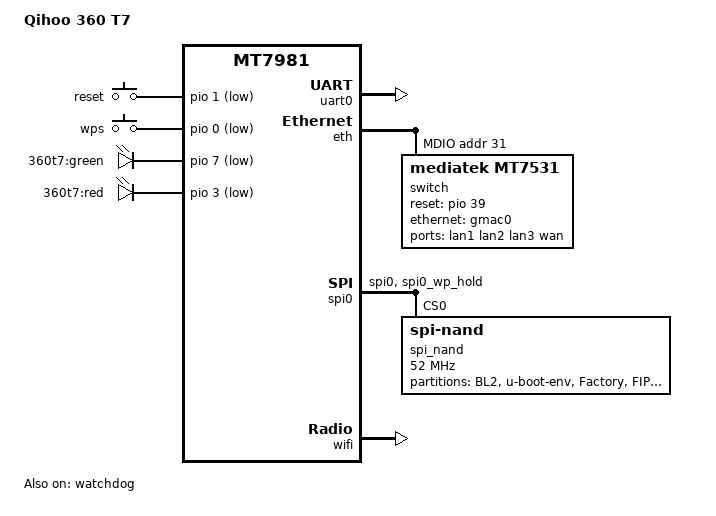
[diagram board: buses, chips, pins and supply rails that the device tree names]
/dts-v1/;

#include "mt7981.dtsi"

/ {
	model = "Qihoo 360 T7";
	compatible = "360,t7", "mediatek,mt7981";

	aliases {
		led-boot = &red_led;
		led-failsafe = &red_led;
		led-running = &green_led;
		led-upgrade = &green_led;
	};

	chosen {
		stdout-path = "serial0:115200n8";
	};

	gpio-keys {
		compatible = "gpio-keys";

		reset {
			label = "reset";
			linux,code = <KEY_RESTART>;
			gpios = <&pio 1 GPIO_ACTIVE_LOW>;
		};

		wps {
			label = "wps";
			linux,code = <KEY_WPS_BUTTON>;
			gpios = <&pio 0 GPIO_ACTIVE_LOW>;
		};
	};

	leds {
		compatible = "gpio-leds";

		green_led: green {
			label = "360t7:green";
			gpios = <&pio 7 GPIO_ACTIVE_LOW>;
		};

		red_led: red {
			label = "360t7:red";
			gpios = <&pio 3 GPIO_ACTIVE_LOW>;
		};
	};

};

&uart0 {
	status = "okay";
};

&watchdog {
	status = "okay";
};

&eth {
	status = "okay";

	gmac0: mac@0 {
		compatible = "mediatek,eth-mac";
		reg = <0>;
		phy-mode = "2500base-x";
		nvmem-cells = <&macaddr>;
		nvmem-cell-names = "mac-address";
		mac-address-increment = <(-2)>;

		fixed-link {
			speed = <2500>;
			full-duplex;
			pause;
		};
	};

	gmac1: mac@1 {
		compatible = "mediatek,eth-mac";
		reg = <1>;
		phy-mode = "2500base-x";
		nvmem-cells = <&macaddr>;
		nvmem-cell-names = "mac-address";
		mac-address-increment = <(-1)>;

		fixed-link {
			speed = <2500>;
			full-duplex;
			pause;
		};
	};

	mdio: mdio-bus {
		#address-cells = <1>;
		#size-cells = <0>;
	};
};

&mdio {
	switch: switch@0 {
		compatible = "mediatek,mt7531";
		reg = <31>;
		reset-gpios = <&pio 39 GPIO_ACTIVE_HIGH>;
	};
};

&spi0 {
	pinctrl-names = "default";
	pinctrl-0 = <&spi0_flash_pins>;
	status = "okay";

	spi_nand: flash@0 {
		#address-cells = <1>;
		#size-cells = <1>;
		compatible = "spi-nand";
		reg = <0>;
		spi-max-frequency = <52000000>;

		spi-cal-enable;
		spi-cal-mode = "read-data";
		spi-cal-datalen = <7>;
		spi-cal-data = /bits/ 8 <0x53 0x50 0x49 0x4E 0x41 0x4E 0x44>;
		spi-cal-addrlen = <5>;
		spi-cal-addr = /bits/ 32 <0x0 0x0 0x0 0x0 0x0>;

		spi-tx-buswidth = <4>;
		spi-rx-buswidth = <4>;
		mediatek,nmbm;
		mediatek,bmt-max-ratio = <1>;
		mediatek,bmt-max-reserved-blocks = <64>;

		partitions {
			compatible = "fixed-partitions";
			#address-cells = <1>;
			#size-cells = <1>;

			partition@0 {
				label = "BL2";
				reg = <0x00000 0x0100000>;
				read-only;
			};

			partition@100000 {
				label = "u-boot-env";
				reg = <0x0100000 0x0080000>;
			};

			factory: partition@180000 {
				label = "Factory";
				reg = <0x180000 0x0200000>;
				compatible = "nvmem-cells";
				#address-cells = <1>;
				#size-cells = <1>;

				macaddr: macaddr@4 {
					reg = <0x4 0x6>;
				};
			};

			partition@380000 {
				label = "FIP";
				reg = <0x380000 0x0200000>;
			};

			partition@580000 {
				label = "ubi";
				reg = <0x580000 0x6c00000>;
			};

			partition@7180000 {
				label = "stock-config";
				reg = <0x7180000 0x100000>;
			};

			partition@7280000 {
				label = "stock-factory";
				reg = <0x7280000 0x80000>;
			};

			partition@7300000 {
				label = "stock-log";
				reg = <0x7300000 0x400000>;
			};
		};
	};
};

&switch {
	ports {
		#address-cells = <1>;
		#size-cells = <0>;

		port@0 {
			reg = <0>;
			label = "lan1";
		};

		port@1 {
			reg = <1>;
			label = "lan2";
		};

		port@2 {
			reg = <2>;
			label = "lan3";
		};
		
		port@3 {
			reg = <3>;
			label = "wan";
			nvmem-cells = <&macaddr>;
			nvmem-cell-names = "mac-address";
			mac-address-increment = <(-1)>;
		};

		port@6 {
			reg = <6>;
			ethernet = <&gmac0>;
			phy-mode = "2500base-x";

			fixed-link {
				speed = <2500>;
				full-duplex;
				pause;
			};
		};
	};
};

&pio {
	spi0_flash_pins: spi0-pins {
		mux {
			function = "spi";
			groups = "spi0", "spi0_wp_hold";
		};
	};
};

&wifi {
	status = "okay";
	mediatek,mtd-eeprom = <&factory 0x0>;
};

&uart0 {
	status = "okay";
};

&watchdog {
	status = "okay";
};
